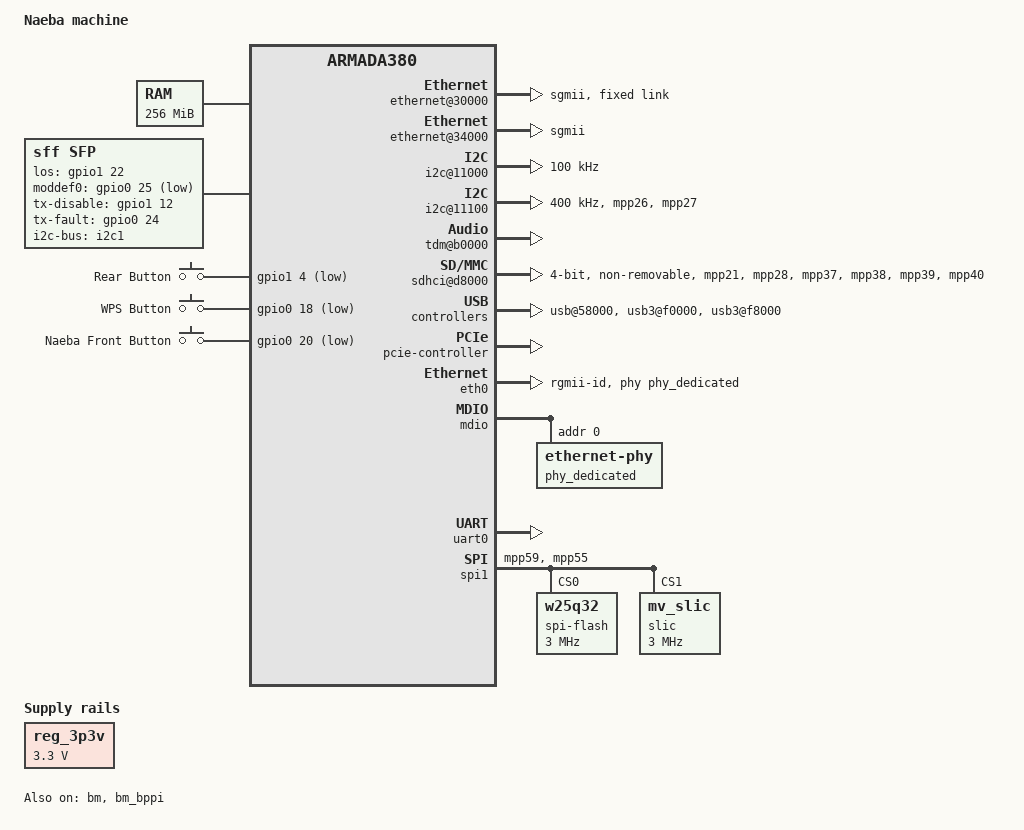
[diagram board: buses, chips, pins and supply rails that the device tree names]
/*
 * Device Tree file for Naeba machine rev 1.0 (88F6825)
 *
 *  Rabeeh Khoury <rabeeh@solid-run.com>, based on Russell King clearfog work
 *
 * This file is dual-licensed: you can use it either under the terms
 * of the GPL or the X11 license, at your option. Note that this dual
 * licensing only applies to this file, and not this project as a
 * whole.
 *
 *  a) This file is free software; you can redistribute it and/or
 *     modify it under the terms of the GNU General Public License
 *     version 2 as published by the Free Software Foundation.
 *
 *     This file is distributed in the hope that it will be useful
 *     but WITHOUT ANY WARRANTY; without even the implied warranty of
 *     MERCHANTABILITY or FITNESS FOR A PARTICULAR PURPOSE.  See the
 *     GNU General Public License for more details.
 *
 * Or, alternatively
 *
 *  b) Permission is hereby granted, free of charge, to any person
 *     obtaining a copy of this software and associated documentation
 *     files (the "Software"), to deal in the Software without
 *     restriction, including without limitation the rights to use
 *     copy, modify, merge, publish, distribute, sublicense, and/or
 *     sell copies of the Software, and to permit persons to whom the
 *     Software is furnished to do so, subject to the following
 *     conditions:
 *
 *     The above copyright notice and this permission notice shall be
 *     included in all copies or substantial portions of the Software.
 *
 *     THE SOFTWARE IS PROVIDED , WITHOUT WARRANTY OF ANY KIND
 *     EXPRESS OR IMPLIED, INCLUDING BUT NOT LIMITED TO THE WARRANTIES
 *     OF MERCHANTABILITY, FITNESS FOR A PARTICULAR PURPOSE AND
 *     NONINFRINGEMENT. IN NO EVENT SHALL THE AUTHORS OR COPYRIGHT
 *     HOLDERS BE LIABLE FOR ANY CLAIM, DAMAGES OR OTHER LIABILITY
 *     WHETHER IN AN ACTION OF CONTRACT, TORT OR OTHERWISE, ARISING
 *     FROM, OUT OF OR IN CONNECTION WITH THE SOFTWARE OR THE USE OR
 *     OTHER DEALINGS IN THE SOFTWARE.
 */

/*
	SERDES mapping -
	0. mini PCIe CON4A - PCIe0
	1. 6141 switch (2.5Gbps capable)
	2. mini PCIe CON2A - PCIe1
	3. USB 3.0 Host
	4. mini PCIe CON3A - disabled by default
	5. SFP connector

	USB 2.0 mapping -
	0. USB 2.0 - 0 mini PCIe CON4A
	1. USB 2.0 - 1 mini PCIe CON2A
	2. USB 2.0 - 2 to USB 3.0 connector (used with SERDES #3)

	Pin mapping -
	0,1 - console UART
	2,3 - I2C0 - connected to I2C ROM (not assembled), two temperature sensors
	      (not assembled) and front panel LED controller and NFC.
	4,5 - MDC/MDIO
	6..17 - RGMII
	18 - WPS front panel button
	19 - 1512 phy reset
	20 - Naeba front button
	21,28,37,38,39,40 - SD0
	22 - USB 3.0 current limiter enable (active high)
	23 - Topaz switch reset (active low)
	24 - SFP TX fault (input active high)
	25 - SFP present (input active low)
	26,27 - I2C1 - connected to SFP
	29 - PS1240P02BT buzzer
	30 - CON2A mini PCIe wifi disable
	31 - CON3A wifi disable
	32 - N/A not used
	33 - CON2A mini PCIe reset
	34 - CON4A mini PCIe wifi disable
	35 - CON3A mini PCIe reset
	36 - CPE factory default reset (GPIO active low)
	41 - SLB9670 TPM chip select (actuve low)
	42 - Front panel NFC reset
	43 - Micron L-PBGA 24 ball SPI (1Gb) - typically not populated
	44 - CON4A mini PCIe reset
	45 - TPM PIRQ signal
	46 - SFP TX disable
	47 - N/A not used
	48,49,50,51,52,53 - Slic TDM interface
	54 - SFP LOS (input active high)
	55 - Slic CS1
	56(mosi),57(clk),58(miso) - SPI interface - shared with SLIC, 32Mb SPI, 1Gb SPI and TPM
	59 - SPI 32Mb W25Q32BVZPIG CS0 chip select (bootable, typically not assembled)
*/

/dts-v1/;
#include <dt-bindings/input/input.h>
#include <dt-bindings/gpio/gpio.h>
#include "armada-385.dtsi"

/ {
	model = "Naeba machine";
	compatible = "marvell,armada388",
		"marvell,armada385", "marvell,armada380";

	aliases {
		/* So that mvebu u-boot can update the MAC addresses */
		ethernet1 = &eth0;
		ethernet2 = &eth1;
		ethernet3 = &eth2;
	};

	chosen {
		stdout-path = "serial0:115200n8";
	};

	memory {
		device_type = "memory";
		reg = <0x00000000 0x10000000>; /* 256 MB */
	};

	reg_3p3v: regulator-3p3v {
		compatible = "regulator-fixed";
		regulator-name = "3P3V";
		regulator-min-microvolt = <3300000>;
		regulator-max-microvolt = <3300000>;
		regulator-always-on;
	};

	soc {
		ranges = <MBUS_ID(0xf0, 0x01) 0 0xf1000000 0x100000
			  MBUS_ID(0x01, 0x1d) 0 0xfff00000 0x100000
			  MBUS_ID(0x09, 0x19) 0 0xf1100000 0x10000
			  MBUS_ID(0x09, 0x15) 0 0xf1110000 0x10000
			  MBUS_ID(0x0c, 0x04) 0 0xf1200000 0x100000>;

		internal-regs {

			rtc@a3800 {
				/*
				 * If the rtc doesn't work, run "date reset"
				 * twice in u-boot.
				 */
				status = "okay";
			};

			ethernet@30000 {
				phy-mode = "sgmii";
				buffer-manager = <&bm>;
				bm,pool-long = <2>;
				bm,pool-short = <1>;
				status = "okay";

				fixed-link {
					speed = <1000>;
					full-duplex;
				};
			};

			ethernet@34000 {
				managed = "in-band-status";
				phy-mode = "sgmii";
				buffer-manager = <&bm>;
				bm,pool-long = <3>;
				bm,pool-short = <1>;
				status = "okay";
			};

			i2c@11000 { /* ROM, temp sensor and front panel */
				clock-frequency = <100000>;
				pinctrl-0 = <&i2c0_pins>;
				pinctrl-names = "default";
				status = "okay";
			};

			i2c@11100 { /* SFP */
				clock-frequency = <400000>;
				pinctrl-0 = <&naeba_i2c1_pins>;
				pinctrl-names = "default";
				status = "okay";
			};

			pinctrl@18000 {
				naeba_dsa0_pins: naeba-dsa0-pins {
					marvell,pins = "mpp23";
					marvell,function = "gpio";
				};
				naeba_i2c1_pins: i2c1-pins {
					/* SFP */
					marvell,pins = "mpp26", "mpp27";
					marvell,function = "i2c1";
				};
				naeba_sdhci_pins: naeba-sdhci-pins {
					marvell,pins = "mpp21", "mpp28",
						       "mpp37", "mpp38",
						       "mpp39", "mpp40";
					marvell,function = "sd0";
				};
				naeba_spi1_cs_pins: spi1-cs-pins {
					marvell,pins = "mpp59";
					marvell,function = "spi1";
				};
				wps_front_button_pins: wps-front-button-pins {
					marvell,pins = "mpp18";
					marvell,function = "gpio";
				};
				naeba_front_button_pins: naeba-front-button-pins {
					marvell,pins = "mpp20";
					marvell,function = "gpio";
				};
				rear_button_pins: rear-button-pins {
					marvell,pins = "mpp36";
					marvell,function = "gpio";
				};
				tdm_spi1_cs_pins: tdm-spi1-cs-pins {
					marvell,pins = "mpp55";
					marvell,function = "spi1";
				};
			};

			tdm@b0000 {
				pinctrl-0 = <&tdm_pins>;
				pinctrl-names = "default";
				pclk-freq-mhz = <8>;
				status = "okay";
			};

			sdhci@d8000 {
				bus-width = <4>;
				no-1-8-v;
				non-removable;
				pinctrl-0 = <&naeba_sdhci_pins>;
				pinctrl-names = "default";
				status = "okay";
				vmmc = <&reg_3p3v>;
				wp-inverted;
			};

			usb@58000 {
				status = "okay";
			};

			usb3@f0000 {
				status = "okay";
			};

			usb3@f8000 {
				status = "okay";
			};
		};

		pcie-controller {
			status = "okay";
			/*
			 * The two PCIe units are accessible through
			 * the mini-PCIe connectors on the board.
			 */
			pcie@2,0 {
				reset-gpios = <&gpio1 3 GPIO_ACTIVE_LOW>;
				status = "okay";
			};
			pcie@3,0 {
				reset-gpios = <&gpio1 1 GPIO_ACTIVE_LOW>;
				status = "okay";
			};
		};
	};

	sfp: sfp {
		compatible = "sff,sfp";
		i2c-bus = <&i2c1>;
		los-gpio = <&gpio1 22 GPIO_ACTIVE_HIGH>;
		moddef0-gpio = <&gpio0 25 GPIO_ACTIVE_LOW>;
		sfp,ethernet = <&eth2>;
		tx-disable-gpio = <&gpio1 12 GPIO_ACTIVE_HIGH>;
		tx-fault-gpio = <&gpio0 24 GPIO_ACTIVE_HIGH>;
	};

	dsa@0 {
		compatible = "marvell,dsa";
		dsa,ethernet = <&eth1>;
		dsa,mii-bus = <&mdio>;
		pinctrl-names = "default";
		#address-cells = <2>;
		#size-cells = <0>;

		switch@0 {
			#address-cells = <1>;
			#size-cells = <0>;
			reg = <4 0>;

			port@1 {
				reg = <1>;
				label = "lan0";
			};

			port@2 {
				reg = <2>;
				label = "lan1";
			};

			port@3 {
				reg = <3>;
				label = "lan2";
			};

			port@4 {
				reg = <4>;
				label = "lan3";
			};

			port@5 {
				reg = <5>;
				label = "cpu";
			};
		};
	};

	mvsw61xx {
		#address-cells = <1>;
		#size-cells = <0>;
		compatible = "marvell,88e6141";
		status = "okay";
		reg = <0x4>;
		is-indirect;

		mii-bus = <&mdio>;
		cpu-port-0 = <5>;
	};

	gpio-keys {
		compatible = "gpio-keys";
		pinctrl-0 = <&rear_button_pins
			     &wps_front_button_pins
			     &naeba_front_button_pins>;
		pinctrl-names = "default";

		button_0 {
			/* The rear button button */
			label = "Rear Button";
			gpios = <&gpio1 4 GPIO_ACTIVE_LOW>;
			linux,can-disable;
			linux,code = <BTN_0>;
		};
		button_1 {
			/* The rear button button */
			label = "WPS Button";
			gpios = <&gpio0 18 GPIO_ACTIVE_LOW>;
			linux,can-disable;
			linux,code = <KEY_WPS_BUTTON>;
		};
		button_2 {
			/* The rear button button */
			label = "Naeba Front Button";
			gpios = <&gpio0 20 GPIO_ACTIVE_LOW>;
			linux,can-disable;
			linux,code = <BTN_2>;
		};
	};
};

&bm {
	status = "okay";
};

&bm_bppi {
	status = "okay";
};

&eth0 {
	/* ethernet@70000 */
	pinctrl-0 = <&ge0_rgmii_pins>;
	pinctrl-names = "default";
	phy = <&phy_dedicated>;
	phy-mode = "rgmii-id";
	buffer-manager = <&bm>;
	bm,pool-long = <0>;
	bm,pool-short = <1>;
	status = "okay";
};

&mdio {
	phy_dedicated: ethernet-phy@0 {
		/*
		 * Annoyingly, the marvell phy driver configures the LED
		 * register, rather than preserving reset-loaded setting.
		 * We undo that rubbish here.
		 */
		marvell,reg-init = <3 16 0 0x1017>;
		reg = <0>;
	};
};

&uart0 {
	pinctrl-0 = <&uart0_pins>;
	pinctrl-names = "default";
	status = "okay";
};

&spi1 {
	/*
	 * We don't seem to have the W25Q32 on the
	 * A1 Rev 2.0 boards, so disable SPI.
	 * CS0: Some board assemblies will have W25Q32
	 * CS1: TDM module
	 */
	pinctrl-0 = <&spi1_pins
		     &naeba_spi1_cs_pins
		     &tdm_spi1_cs_pins>;
	pinctrl-names = "default";
	status = "okay";

	spi-flash@0 {
		#address-cells = <1>;
		#size-cells = <0>;
		compatible = "w25q32", "jedec,spi-nor";
		reg = <0>; /* Chip select 0 */
		spi-max-frequency = <3000000>;
		status = "okay";
	};
	slic@0 {
		#address-cells = <1>;
		#size-cells = <0>;
		compatible = "mv_slic";
		reg = <1>; /* Chip select 1 */
		spi-max-frequency = <3000000>;
		spi-1byte-cs;
		spi-cpol;
		spi-cpha;
	};
};
